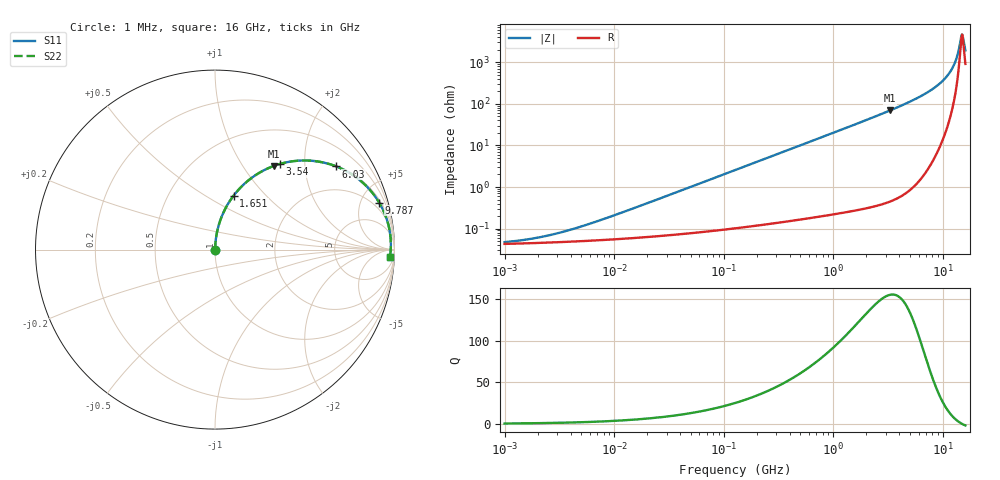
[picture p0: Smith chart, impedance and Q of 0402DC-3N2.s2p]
# MHz  S  MA  R  50
!Freq  MagS11  AngS11  MagS21  AngS21  MagS12  AngS12  MagS22  AngS22
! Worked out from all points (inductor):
!   801 points, 1 MHz to 16 GHz, reference 50 ohm
!   read as one part in series: L = 3.2 nH near 7.926 MHz
!   highest Q = 156 at 3.292 GHz (marker M1), where L = 3.36 nH
!   self-resonance near 14.77 GHz
!   S11 on the Smith chart (normalised r, x): 1 MHz: 1.00, +0.00; 1.651 GHz: 1.01, +0.67; 3.54 GHz: 1.01, +1.51; 6.03 GHz: 1.03, +2.90; 9.787 GHz: 1.25, +6.90; 16 GHz: 19, -34
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1  0.0004718 25.2  0.9996 -0.0  0.9996 -0.0  0.0004718 25.2
2.223369  0.0006376 44.5  0.9995 -0.0  0.9995 -0.0  0.0006376 44.5
5.064525  0.001133 63.9  0.9995 -0.1  0.9995 -0.1  0.001133 63.9
25.34076  0.005134 82.4  0.9993 -0.3  0.9993 -0.3  0.005134 82.4
126.7946  0.02548 86.3  0.9987 -1.5  0.9987 -1.5  0.02548 86.3
642.1543  0.1281 81.8  0.99 -7.4  0.99 -7.4  0.1281 81.8
1650.988  0.3178 71.0  0.9455 -18.5  0.9455 -18.5  0.3178 71.0
2317.187  0.4297 64.2  0.9 -25.4  0.9 -25.4  0.4297 64.2
3213.071  0.5592 55.6  0.8254 -34.0  0.8254 -34.0  0.5592 55.6
3291.818  0.5694 54.9  0.8184 -34.7  0.8184 -34.7  0.5694 54.9
3539.83  0.6003 52.7  0.7959 -36.9  0.7959 -36.9  0.6003 52.7
4676.39  0.7192 43.6  0.6897 -46.0  0.6897 -46.0  0.7192 43.6
6030.085  0.8194 34.4  0.5654 -55.0  0.5654 -55.0  0.8194 34.4
7870.349  0.904 24.3  0.4123 -64.7  0.4123 -64.7  0.904 24.3
9786.638  0.9514 16.0  0.2758 -72.0  0.2758 -72.0  0.9514 16.0
11180.69  0.9695 10.9  0.1897 -75.3  0.1897 -75.3  0.9695 10.9
12467.76  0.978 6.8  0.1191 -76.0  0.1191 -76.0  0.978 6.8
13245.77  0.9801 4.5  0.08027 -73.4  0.08027 -73.4  0.9801 4.5
14417.22  0.9801 1.3  0.03033 -48.4  0.03033 -48.4  0.9801 1.3
14770.56  0.9795 0.4  0.02177 -19.5  0.02177 -19.5  0.9795 0.4
15316.88  0.978 -0.9  0.0272 35.5  0.0272 35.5  0.978 -0.9
16000  0.9753 -2.5  0.05029 59.4  0.05029 59.4  0.9753 -2.5
